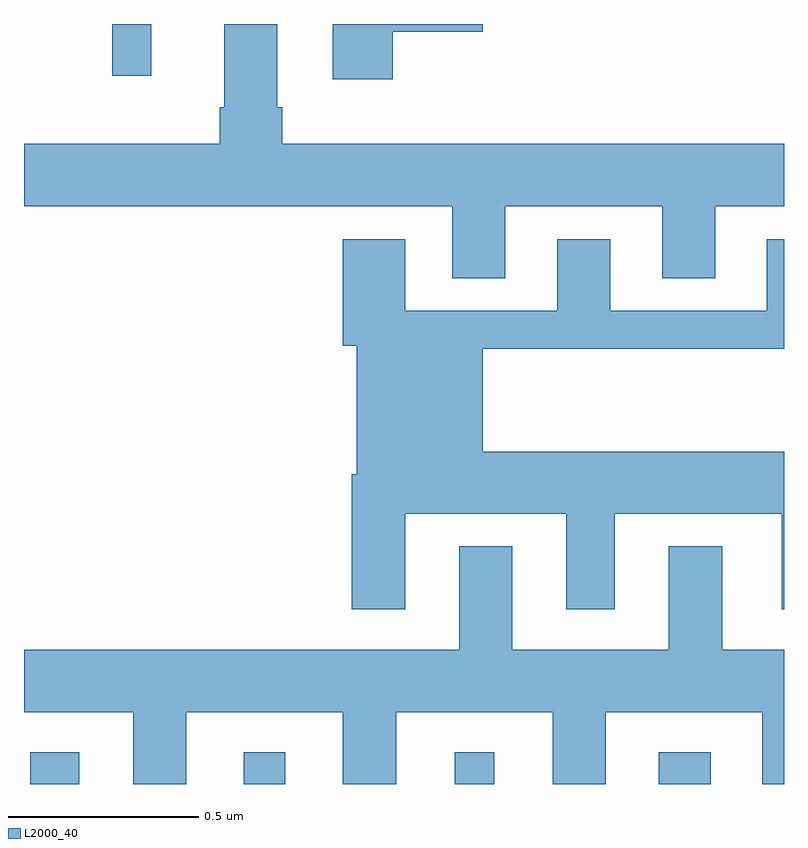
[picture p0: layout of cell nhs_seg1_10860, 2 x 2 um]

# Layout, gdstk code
import gdstk
lib = gdstk.Library(unit=1e-6, precision=1e-09)
def R(c, l, rs):  # rectangles x0, y0, x1, y1
    for r in rs: c.add(gdstk.rectangle(r[:2], r[2:], *l))
def P(c, l, *ps):  # polygons
    for p in ps: c.add(gdstk.Polygon(p, *l))
L2000_40 = (2000, 40)

nhs_seg1_10860 = lib.new_cell('nhs_seg1_10860')
R(nhs_seg1_10860, L2000_40, [(246.017,562.199,246.145,562.282), (246.578,562.199,246.688,562.282), (247.133,562.199,247.237,562.282), (247.67,562.199,247.807,562.282), (246.232,564.063,246.335,564.199)])
P(nhs_seg1_10860, L2000_40, [(246.971,564.178),(247.207,564.178),(247.207,564.199),(246.812,564.199),(246.812,564.054),(246.971,564.054)],
  [(247.267,563.72),(247.679,563.72),(247.679,563.53),(247.819,563.53),(247.819,563.72),(248,563.72),(248,563.884),(246.68,563.884),(246.68,563.98),(246.667,563.98),(246.667,564.199),(246.527,564.199),(246.527,563.98),(246.515,563.98),(246.515,563.884),(246,563.884),(246,563.72),(247.127,563.72),(247.127,563.53),(247.267,563.53)],
  [(247.003,562.91),(247.427,562.91),(247.427,562.659),(247.555,562.659),(247.555,562.91),(247.994,562.91),(247.994,562.659),(248,562.659),(248,563.074),(247.207,563.074),(247.207,563.344),(248,563.344),(248,563.632),(247.955,563.632),(247.955,563.445),(247.543,563.445),(247.543,563.632),(247.403,563.632),(247.403,563.445),(247.003,563.445),(247.003,563.632),(246.839,563.632),(246.839,563.352),(246.875,563.352),(246.875,563.014),(246.863,563.014),(246.863,562.659),(247.003,562.659)],
  [(246.427,562.388),(246.839,562.388),(246.839,562.199),(246.979,562.199),(246.979,562.388),(247.391,562.388),(247.391,562.199),(247.531,562.199),(247.531,562.388),(247.943,562.388),(247.943,562.199),(248,562.199),(248,562.552),(247.837,562.552),(247.837,562.825),(247.697,562.825),(247.697,562.552),(247.285,562.552),(247.285,562.825),(247.145,562.825),(247.145,562.552),(246,562.552),(246,562.388),(246.287,562.388),(246.287,562.199),(246.427,562.199)])

lib.write_gds('nhs_seg1_10860.gds')
